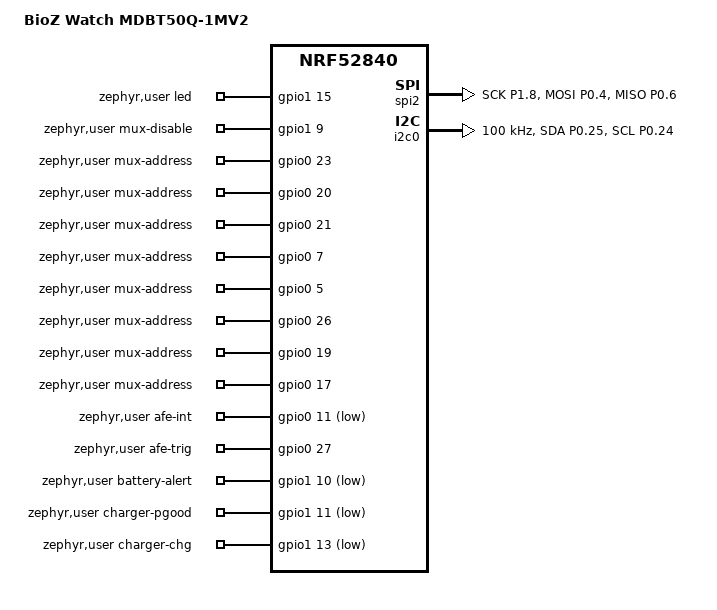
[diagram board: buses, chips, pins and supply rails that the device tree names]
/dts-v1/;
#include <nordic/nrf52840_qiaa.dtsi>
#include <nordic/nrf52840_partition.dtsi>
#include <zephyr/dt-bindings/pinctrl/nrf-pinctrl.h>
/ {
    model = "BioZ Watch MDBT50Q-1MV2";
    compatible = "bioz,watch";
    aliases { watchdog0 = &wdt0; };
    zephyr,user {
        led-gpios = <&gpio1 15 GPIO_ACTIVE_HIGH>;
        mux-disable-gpios = <&gpio1 9 GPIO_ACTIVE_HIGH>;
        /* Order: EL1, EL2B, EL3B, EL4; each A0, A1, A2. */
        mux-address-gpios = <&gpio0 23 0>, <&gpio0 20 0>, <&gpio0 21 0>,
                            <&gpio0 7 0>, <&gpio0 5 0>, <&gpio0 26 0>,
                            <&gpio0 19 0>, <&gpio0 17 0>, <&gpio0 15 0>,
                            <&gpio0 16 0>, <&gpio0 14 0>, <&gpio0 13 0>;
        afe-int-gpios = <&gpio0 11 (GPIO_ACTIVE_LOW | GPIO_PULL_UP)>;
        afe-trig-gpios = <&gpio0 27 GPIO_ACTIVE_HIGH>;
        battery-alert-gpios = <&gpio1 10 GPIO_ACTIVE_LOW>;
        charger-pgood-gpios = <&gpio1 11 (GPIO_ACTIVE_LOW | GPIO_PULL_UP)>;
        charger-chg-gpios = <&gpio1 13 (GPIO_ACTIVE_LOW | GPIO_PULL_UP)>;
    };
};
&pinctrl {
    bioz_spi_default: bioz_spi_default {
        group1 { psels = <NRF_PSEL(SPIM_SCK, 1, 8)>,
                         <NRF_PSEL(SPIM_MOSI, 0, 4)>,
                         <NRF_PSEL(SPIM_MISO, 0, 6)>; };
    };
    bioz_spi_sleep: bioz_spi_sleep {
        group1 { psels = <NRF_PSEL(SPIM_SCK, 1, 8)>,
                         <NRF_PSEL(SPIM_MOSI, 0, 4)>,
                         <NRF_PSEL(SPIM_MISO, 0, 6)>; low-power-enable; };
    };
    bioz_i2c_default: bioz_i2c_default {
        group1 { psels = <NRF_PSEL(TWIM_SDA, 0, 25)>,
                         <NRF_PSEL(TWIM_SCL, 0, 24)>; };
    };
    bioz_i2c_sleep: bioz_i2c_sleep {
        group1 { psels = <NRF_PSEL(TWIM_SDA, 0, 25)>,
                         <NRF_PSEL(TWIM_SCL, 0, 24)>; low-power-enable; };
    };
};
&gpio0 { status = "okay"; };
&gpio1 { status = "okay"; };
&gpiote { status = "okay"; };
&uicr { gpio-as-nreset; };
/* VDD and VDDH both 1.8V. Do not inherit DK regulator or peripheral pins. */
&reg1 { regulator-initial-mode = <NRF5X_REG_MODE_LDO>; };
&spi2 {
    compatible = "nordic,nrf-spim";
    status = "okay";
    pinctrl-0 = <&bioz_spi_default>;
    pinctrl-1 = <&bioz_spi_sleep>;
    pinctrl-names = "default", "sleep";
    cs-gpios = <&gpio0 8 GPIO_ACTIVE_LOW>;
    //afe: afe@0 { compatible = "vnd,spi-device"; reg = <0>; spi-max-frequency = <1000000>; };
};
&i2c0 {
    compatible = "nordic,nrf-twim";
    status = "okay";
    clock-frequency = <100000>;
    pinctrl-0 = <&bioz_i2c_default>;
    pinctrl-1 = <&bioz_i2c_sleep>;
    pinctrl-names = "default", "sleep";
};
